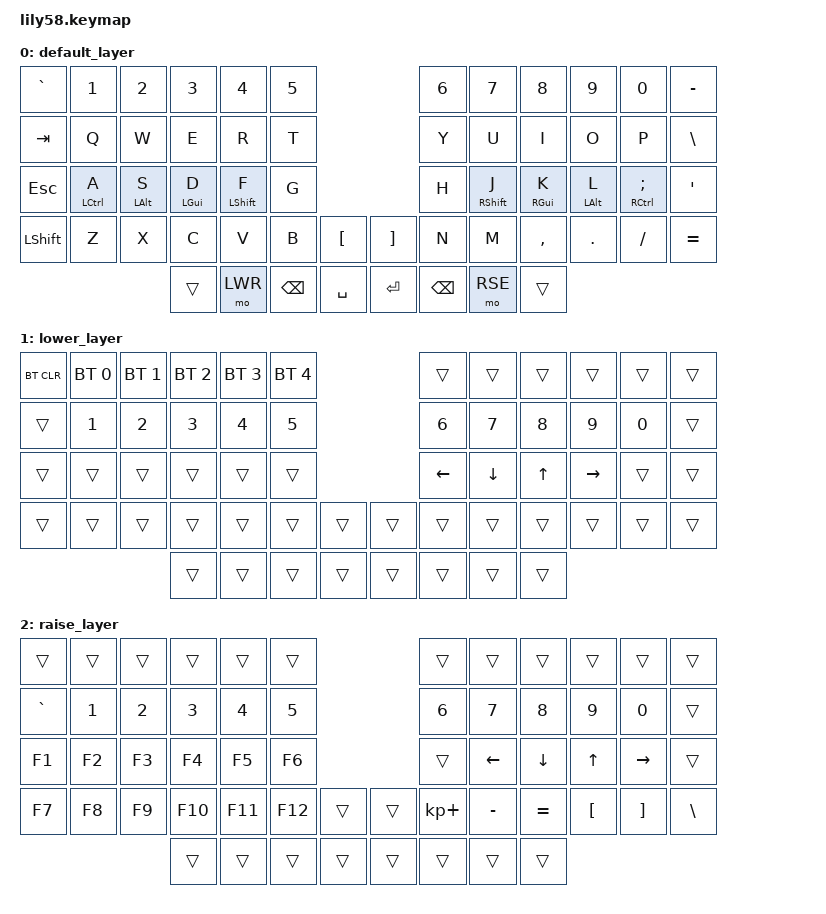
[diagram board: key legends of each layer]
#include <behaviors.dtsi>
#include <dt-bindings/zmk/keys.h>
#include <dt-bindings/zmk/bt.h>
#include <dt-bindings/zmk/ext_power.h>

#include "zmk-helpers/helper.h"
#include "zmk-helpers/key-labels/lily58.h"

// LAYERS
#define DFT 0
#define LWR 1
#define RSE 2

// KEYS
#define KEYS_L LT0 LT1 LT2 LT3 LT4 LT5 LM0 LM1 LM2 LM3 LM4 LM5 LB0 LB1 LB2 LB3 LB4 LB5 LF5 LF4 LF3 LF2 LF1 LF0 LEC
#define KEYS_R RT0 RT1 RT2 RT3 RT4 RT5 RM0 RM1 RM2 RM3 RM4 RM5 RB0 RB1 RB2 RB3 RB4 RB5 RF5 RF4 RF3 RF2 RF1 RF0 REC
#define KEYS_T LH3 LH2 LH1 LH0 RH0 RH1 RH2 RH3

// MODS VALUES
#define HM_TAPPING_TERM 300
#define HM_QUICK_TAP 175
#define HM_PRIOR_IDLE 150

#define CB_TERM 30
#define CB_IDLE 150

// HOMEROW MODS
ZMK_HOLD_TAP(hml,
    flavor = "balanced";
    bindings = <&kp>, <&kp>;
    tapping-term-ms = <HM_TAPPING_TERM>;
    quick-tap-ms = <HM_QUICK_TAP>;
    require-prior-idle-ms = <HM_PRIOR_IDLE>;
    /* hold-trigger-key-positions = <KEYS_R KEYS_T>; */
    hold-trigger-on-release;
)

ZMK_HOLD_TAP(hmr,
    flavor = "balanced";
    bindings = <&kp>, <&kp>;
    tapping-term-ms = <HM_TAPPING_TERM>;
    quick-tap-ms = <HM_QUICK_TAP>;
    require-prior-idle-ms = <HM_PRIOR_IDLE>;
    /* hold-trigger-key-positions = <KEYS_L KEYS_T>; */
    hold-trigger-on-release;
)

// Special config for shift keys
ZMK_HOLD_TAP(hmsl,
    flavor = "balanced";
    tapping-term-ms = <HM_TAPPING_TERM>;
    quick-tap-ms = <HM_QUICK_TAP>;
    require-prior-idle-ms = <HM_PRIOR_IDLE>;
    /* hold-trigger-key-positions = <KEYS_R KEYS_T>; */
    bindings = <&kp>, <&kp>;
)

ZMK_HOLD_TAP(hmsr,
    flavor = "balanced";
    tapping-term-ms = <HM_TAPPING_TERM>;
    quick-tap-ms = <HM_QUICK_TAP>;
    require-prior-idle-ms = <HM_PRIOR_IDLE>;
    /* hold-trigger-key-positions = <KEYS_L KEYS_T>; */
    bindings = <&kp>, <&kp>;
)

// COMBOS
/*                                      58 KEY MATRIX / LAYOUT MAPPING

  ╭────────────────────────────┬────────────────────────────╮ ╭─────────────────────────────┬─────────────────────────────╮
  │  0   1   2   3   4   5     │      6   7   8   9  10  11 │ │ LT5 LT4 LT3 LT2 LT1 LT0     │     RT0 RT1 RT2 RT3 RT4 RT5 │
  │ 12  13  14  15  16  17     │     18  19  20  21  22  23 │ │ LM5 LM4 LM3 LM2 LM1 LM0     │     RM0 RM1 RM2 RM3 RM4 RM5 │
  │ 24  25  26  27  28  29     │     30  31  32  33  34  35 │ │ LB5 LB4 LB3 LB2 LB1 LB0     │     RB0 RB1 RB2 RB3 RB4 RB5 │
  │ 36  37  38  39  40  41  42 │ 43  44  45  46  47  48  49 │ │ LF5 LF4 LF3 LF2 LF1 LF0 LEC │ REC RF0 RF1 RF2 RF3 RF4 RF5 │
  ╰───────────╮ 50  51  52  53 │ 54  55  56  57 ╭───────────╯ ╰───────────╮ LH3 LH2 LH1 LH0 │ RH0 RH1 RH2 RH3 ╭───────────╯
              ╰────────────────┴────────────────╯                         ╰─────────────────┴─────────────────╯             */

ZMK_COMBO(esc,   &kp ESC,      LB1 LB2, DFT, CB_TERM, CB_IDLE)
ZMK_COMBO(lbkt,  &kp LBKT,     RT1 RT2, DFT, CB_TERM, CB_IDLE)
ZMK_COMBO(rbkt,  &kp RBKT,     RT2 RT3, DFT, CB_TERM, CB_IDLE)

ZMK_COMBO(lpar,  &kp LPAR,     RM1 RM2, DFT, CB_TERM, CB_IDLE)
ZMK_COMBO(rpar,  &kp RPAR,     RM2 RM3, DFT, CB_TERM, CB_IDLE)

ZMK_COMBO(lbrc,  &kp LBRC,     RB1 RB2, DFT, CB_TERM, CB_IDLE)
ZMK_COMBO(rbrc,  &kp RBRC,     RB2 RB3, DFT, CB_TERM, CB_IDLE)

ZMK_COMBO(lt,    &kp LT,       RF1 RF2, DFT, CB_TERM, CB_IDLE)
ZMK_COMBO(gt,    &kp GT,       RF2 RF3, DFT, CB_TERM, CB_IDLE)

// LAYERS
ZMK_LAYER(default_layer,
     // ╭───────────────────┬───────────────────┬───────────────────┬───────────────────┬───────────────────┬───────────────────╮                                           ╭───────────────────┬───────────────────┬───────────────────┬───────────────────┬───────────────────┬───────────────────╮
          &kp GRAVE           &kp N1              &kp N2              &kp N3              &kp N4              &kp N5                                                          &kp N6              &kp N7              &kp N8              &kp N9              &kp N0              &kp MINUS 
     // ├───────────────────┼───────────────────┼───────────────────┼───────────────────┼───────────────────┼───────────────────┤                                           ├───────────────────┼───────────────────┼───────────────────┼───────────────────┼───────────────────┼───────────────────┤
          &kp TAB             &kp Q               &kp W               &kp E               &kp R               &kp T                                                           &kp Y               &kp U               &kp I               &kp O               &kp P               &kp BSLH
     // ├───────────────────┼───────────────────┼───────────────────┼───────────────────┼───────────────────┼───────────────────┤                                           ├───────────────────┼───────────────────┼───────────────────┼───────────────────┼───────────────────┼───────────────────┤
          &kp ESC             &hml LCTRL A        &hml LALT S         &hml LGUI D         &hmsl LSHFT F       &kp G                                                           &kp H               &hmsr RSHFT J       &hmr RGUI K         &hmr LALT L         &hmr RCTRL SEMI     &kp SQT
     // ├───────────────────┼───────────────────┼───────────────────┼───────────────────┼───────────────────┼───────────────────┼───────────────────╮   ╭───────────────────┼───────────────────┼───────────────────┼───────────────────┼───────────────────┼───────────────────┼───────────────────┤
          &kp LSHFT           &kp Z               &kp X               &kp C               &kp V               &kp B               &kp LBKT                &kp RBKT            &kp N               &kp M               &kp COMMA           &kp DOT             &kp FSLH            &kp EQUAL
     // ╰───────────────────┴───────────────────┴───────────────────┴───────────────────┼───────────────────┼───────────────────┼───────────────────┤   ├───────────────────┼───────────────────┼───────────────────┼───────────────────┴───────────────────┴───────────────────┴───────────────────╯
                                                                      &trans              &mo LWR             &kp BSPC            &kp SPACE               &kp RET             &kp BSPC            &mo RSE             &trans
     //                                                             ╰───────────────────┴───────────────────┴───────────────────┴───────────────────╯   ╰───────────────────┴───────────────────┴───────────────────┴───────────────────╯
)

ZMK_LAYER(lower_layer,
      // ╭───────────────────┬───────────────────┬───────────────────┬───────────────────┬───────────────────┬───────────────────╮                                           ╭───────────────────┬───────────────────┬───────────────────┬───────────────────┬───────────────────┬───────────────────╮
           &bt BT_CLR          &bt BT_SEL 0        &bt BT_SEL 1        &bt BT_SEL 2        &bt BT_SEL 3        &bt BT_SEL 4                                                    &trans              &trans              &trans              &trans              &trans              &trans
      // ├───────────────────┼───────────────────┼───────────────────┼───────────────────┼───────────────────┼───────────────────┤                                           ├───────────────────┼───────────────────┼───────────────────┼───────────────────┼───────────────────┼───────────────────┤
           &trans              &kp N1              &kp N2              &kp N3              &kp N4              &kp N5                                                          &kp N6              &kp N7              &kp N8              &kp N9              &kp N0              &trans
      // ├───────────────────┼───────────────────┼───────────────────┼───────────────────┼───────────────────┼───────────────────┤                                           ├───────────────────┼───────────────────┼───────────────────┼───────────────────┼───────────────────┼───────────────────┤
           &trans              &trans              &trans              &trans              &trans              &trans                                                          &kp LEFT_ARROW      &kp DOWN_ARROW      &kp UP_ARROW        &kp RIGHT_ARROW     &trans              &trans
      // ├───────────────────┼───────────────────┼───────────────────┼───────────────────┼───────────────────┼───────────────────┼───────────────────╮   ╭───────────────────┼───────────────────┼───────────────────┼───────────────────┼───────────────────┼───────────────────┼───────────────────┤
           &trans              &trans              &trans              &trans              &trans              &trans              &trans                  &trans              &trans              &trans              &trans              &trans              &trans              &trans
      // ╰───────────────────┴───────────────────┴───────────────────┴───────────────────┼───────────────────┼───────────────────┼───────────────────┤   ├───────────────────┼───────────────────┼───────────────────┼───────────────────┴───────────────────┴───────────────────┴───────────────────╯
                                                                       &trans              &trans              &trans              &trans                  &trans              &trans              &trans              &trans              
      //                                                             ╰───────────────────┴───────────────────┴───────────────────┴───────────────────╯   ╰───────────────────┴───────────────────┴───────────────────┴───────────────────╯
)

ZMK_LAYER(raise_layer,
      // ╭───────────────────┬───────────────────┬───────────────────┬───────────────────┬───────────────────┬───────────────────╮                                           ╭───────────────────┬───────────────────┬───────────────────┬───────────────────┬───────────────────┬───────────────────╮
           &trans              &trans              &trans              &trans              &trans              &trans                                                          &trans              &trans              &trans              &trans              &trans              &trans
      // ├───────────────────┼───────────────────┼───────────────────┼───────────────────┼───────────────────┼───────────────────┤                                           ├───────────────────┼───────────────────┼───────────────────┼───────────────────┼───────────────────┼───────────────────┤
           &kp GRAVE           &kp N1              &kp N2              &kp N3              &kp N4              &kp N5                                                          &kp N6              &kp N7              &kp N8              &kp N9              &kp N0              &trans
      // ├───────────────────┼───────────────────┼───────────────────┼───────────────────┼───────────────────┼───────────────────┤                                           ├───────────────────┼───────────────────┼───────────────────┼───────────────────┼───────────────────┼───────────────────┤
           &kp F1              &kp F2              &kp F3              &kp F4              &kp F5              &kp F6                                                          &trans              &kp LEFT            &kp DOWN            &kp UP              &kp RIGHT           &trans
      // ├───────────────────┼───────────────────┼───────────────────┼───────────────────┼───────────────────┼───────────────────┼───────────────────╮   ╭───────────────────┼───────────────────┼───────────────────┼───────────────────┼───────────────────┼───────────────────┼───────────────────┤
           &kp F7              &kp F8              &kp F9              &kp F10             &kp F11             &kp F12             &trans                  &trans              &kp KP_PLUS         &kp MINUS           &kp EQUAL           &kp LBKT            &kp RBKT            &kp BSLH
      // ╰───────────────────┴───────────────────┴───────────────────┴───────────────────┼───────────────────┼───────────────────┼───────────────────┤   ├───────────────────┼───────────────────┼───────────────────┼───────────────────┴───────────────────┴───────────────────┴───────────────────╯
                                                                       &trans              &trans              &trans              &trans                  &trans              &trans              &trans              &trans              
      //                                                             ╰───────────────────┴───────────────────┴───────────────────┴───────────────────╯   ╰───────────────────┴───────────────────┴───────────────────┴───────────────────╯
)
